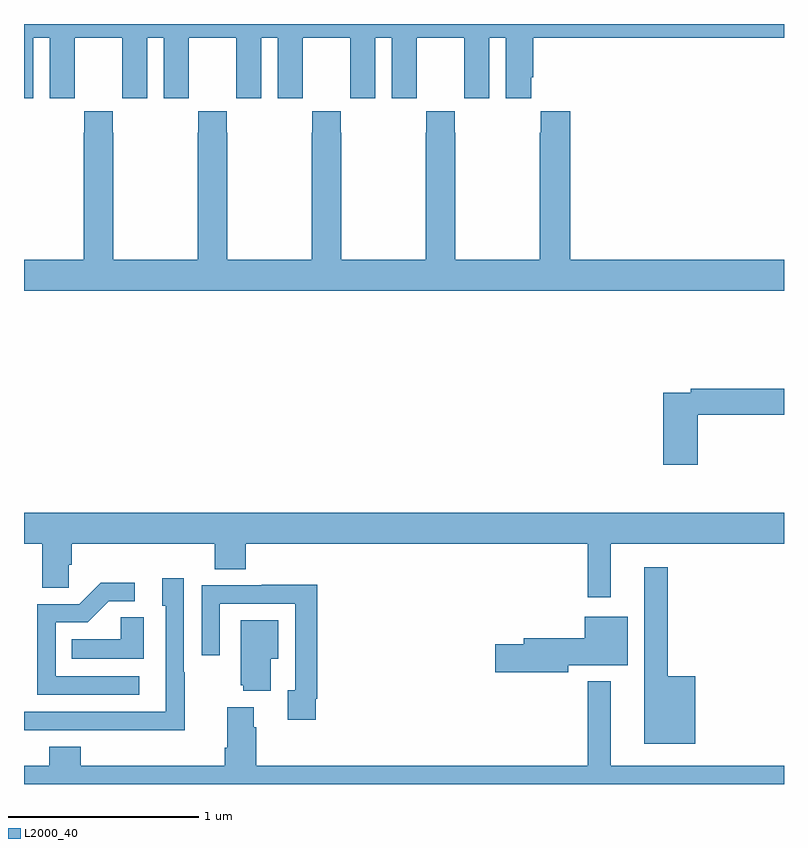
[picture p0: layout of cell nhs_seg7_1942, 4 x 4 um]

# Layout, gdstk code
import gdstk
lib = gdstk.Library(unit=1e-6, precision=1e-09)
def P(c, l, *ps):  # polygons
    for p in ps: c.add(gdstk.Polygon(p, *l))
L2000_40 = (2000, 40)

nhs_seg7_1942 = lib.new_cell('nhs_seg7_1942')
P(nhs_seg7_1942, L2000_40, [(241.048,1021.928),(241.136,1021.928),(241.136,1021.608),(241.266,1021.608),(241.266,1021.72),(241.267,1021.72),(241.267,1021.928),(241.517,1021.928),(241.517,1021.72),(241.518,1021.72),(241.518,1021.608),(241.648,1021.608),(241.648,1021.928),(241.736,1021.928),(241.736,1021.608),(241.866,1021.608),(241.866,1021.72),(241.867,1021.72),(241.867,1021.928),(242.117,1021.928),(242.117,1021.72),(242.118,1021.72),(242.118,1021.608),(242.248,1021.608),(242.248,1021.928),(242.336,1021.928),(242.336,1021.608),(242.466,1021.608),(242.466,1021.72),(242.467,1021.72),(242.467,1021.928),(242.717,1021.928),(242.717,1021.72),(242.718,1021.72),(242.718,1021.608),(242.848,1021.608),(242.848,1021.928),(242.936,1021.928),(242.936,1021.608),(243.066,1021.608),(243.066,1021.72),(243.067,1021.72),(243.067,1021.928),(243.317,1021.928),(243.317,1021.72),(243.318,1021.72),(243.318,1021.608),(243.448,1021.608),(243.448,1021.928),(243.536,1021.928),(243.536,1021.608),(243.67,1021.608),(243.67,1021.72),(243.68,1021.72),(243.68,1021.928),(245,1021.928),(245,1022),(241,1022),(241,1021.608),(241.048,1021.608)],
  [(243.267,1021.427),(243.267,1021.54),(243.117,1021.54),(243.117,1021.427),(243.115,1021.427),(243.115,1020.76),(242.67,1020.76),(242.67,1021.427),(242.667,1021.427),(242.667,1021.54),(242.517,1021.54),(242.517,1021.427),(242.515,1021.427),(242.515,1020.76),(242.07,1020.76),(242.07,1021.427),(242.067,1021.427),(242.067,1021.54),(241.917,1021.54),(241.917,1021.427),(241.915,1021.427),(241.915,1020.76),(241.47,1020.76),(241.47,1021.427),(241.467,1021.427),(241.467,1021.54),(241.317,1021.54),(241.317,1021.427),(241.315,1021.427),(241.315,1020.76),(241,1020.76),(241,1020.596),(245,1020.596),(245,1020.76),(243.875,1020.76),(243.875,1021.54),(243.721,1021.54),(243.721,1021.427),(243.715,1021.427),(243.715,1020.76),(243.27,1020.76),(243.27,1021.427)],
  [(244.547,1019.944),(245,1019.944),(245,1020.08),(244.51,1020.08),(244.51,1020.06),(244.364,1020.06),(244.364,1019.679),(244.547,1019.679)],
  [(244.087,1019.264),(245,1019.264),(245,1019.428),(241,1019.428),(241,1019.264),(241.097,1019.264),(241.097,1019.032),(241.236,1019.032),(241.236,1019.155),(241.25,1019.155),(241.25,1019.264),(242.003,1019.264),(242.003,1019.131),(242.168,1019.131),(242.168,1019.264),(243.966,1019.264),(243.966,1018.983),(244.087,1018.983)],
  [(244.534,1018.567),(244.387,1018.567),(244.387,1019.14),(244.265,1019.14),(244.265,1018.211),(244.534,1018.211)],
  [(241.845,1018.589),(241.842,1018.589),(241.842,1019.083),(241.727,1019.083),(241.727,1018.938),(241.746,1018.938),(241.746,1018.38),(241,1018.38),(241,1018.284),(241.381,1018.284),(241.381,1018.283),(241.845,1018.283)],
  [(241.606,1018.566),(241.167,1018.566),(241.167,1018.851),(241.336,1018.851),(241.447,1018.962),(241.582,1018.962),(241.582,1019.06),(241.403,1019.06),(241.29,1018.947),(241.071,1018.947),(241.071,1018.47),(241.606,1018.47)],
  [(242.536,1018.45),(242.543,1018.45),(242.543,1019.048),(242.251,1019.048),(242.251,1019.046),(241.935,1019.046),(241.935,1018.677),(242.031,1018.677),(242.031,1018.95),(242.427,1018.95),(242.427,1018.494),(242.387,1018.494),(242.387,1018.338),(242.536,1018.338)],
  [(243.864,1018.625),(244.177,1018.625),(244.177,1018.879),(243.95,1018.879),(243.95,1018.766),(243.629,1018.766),(243.629,1018.736),(243.48,1018.736),(243.48,1018.589),(243.864,1018.589)],
  [(241.63,1018.877),(241.509,1018.877),(241.509,1018.762),(241.252,1018.762),(241.252,1018.658),(241.63,1018.658)],
  [(242.299,1018.658),(242.338,1018.658),(242.338,1018.861),(242.141,1018.861),(242.141,1018.521),(242.153,1018.521),(242.153,1018.49),(242.299,1018.49)],
  [(245,1018.096),(244.087,1018.096),(244.087,1018.54),(243.966,1018.54),(243.966,1018.096),(242.222,1018.096),(242.222,1018.298),(242.209,1018.298),(242.209,1018.405),(242.069,1018.405),(242.069,1018.192),(242.057,1018.192),(242.057,1018.096),(241.298,1018.096),(241.298,1018.195),(241.133,1018.195),(241.133,1018.096),(241,1018.096),(241,1018),(245,1018)])

lib.write_gds('nhs_seg7_1942.gds')
